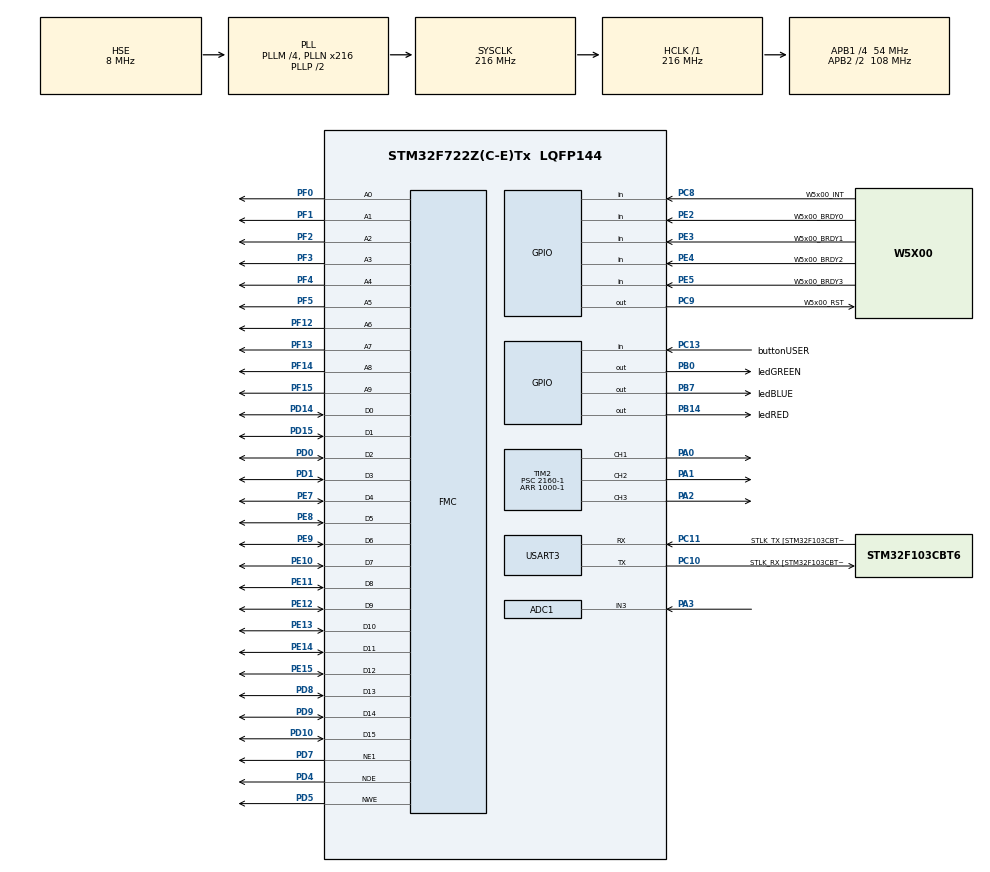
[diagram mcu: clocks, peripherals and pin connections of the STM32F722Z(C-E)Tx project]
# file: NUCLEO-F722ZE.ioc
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ADC1.Channel-0\#ChannelRegularConversion=ADC_CHANNEL_3
ADC1.ContinuousConvMode=ENABLE
ADC1.NbrOfConversionFlag=1
ADC1.Rank-0\#ChannelRegularConversion=1
ADC1.SamplingTime-0\#ChannelRegularConversion=ADC_SAMPLETIME_3CYCLES
ADC1.master=1
FMC.WriteOperation1=FMC_WRITE_OPERATION_ENABLE
Mcu.Family=STM32F7
Mcu.Name=STM32F722Z(C-E)Tx
Mcu.Package=LQFP144
NVIC.PriorityGroup=NVIC_PRIORITYGROUP_4
NVIC.TIM2_IRQn=true\:0\:0\:false\:false\:true\:true\:true\:true
PA0-WKUP.Signal=S_TIM2_CH1_ETR
PA1.Signal=S_TIM2_CH2
PA13.GPIO_Label=TMS
PA13.Mode=Serial_Wire
PA13.Signal=SYS_JTMS-SWDIO
PA14.GPIO_Label=TCK
PA14.Mode=Serial_Wire
PA14.Signal=SYS_JTCK-SWCLK
PA2.Signal=S_TIM2_CH3
PA3.Signal=ADCx_IN3
PB0.GPIO_Label=ledGREEN
PB0.Signal=GPIO_Output
PB14.GPIO_Label=ledRED
PB14.Signal=GPIO_Output
PB7.GPIO_Label=ledBLUE
PB7.Signal=GPIO_Output
PC10.GPIO_Label=STLK_RX [STM32F103CBT6_PA3]
PC10.Mode=Asynchronous
PC10.Signal=USART3_TX
PC11.GPIO_Label=STLK_TX [STM32F103CBT6_PA2]
PC11.Mode=Asynchronous
PC11.Signal=USART3_RX
PC13.GPIO_Label=buttonUSER
PC13.Signal=GPIO_Input
PC14-OSC32_IN.Mode=LSE-External-Oscillator
PC14-OSC32_IN.Signal=RCC_OSC32_IN
PC15-OSC32_OUT.Mode=LSE-External-Oscillator
PC15-OSC32_OUT.Signal=RCC_OSC32_OUT
PC8.GPIO_Label=W5x00_INT
PC8.Signal=GPIO_Input
PC9.GPIO_Label=W5x00_RST
PC9.GPIO_PuPd=GPIO_PULLUP
PC9.PinState=GPIO_PIN_SET
PC9.Signal=GPIO_Output
PD0.Signal=FMC_D2_DA2
PD1.Signal=FMC_D3_DA3
PD10.Signal=FMC_D15_DA15
PD14.Signal=FMC_D0_DA0
PD15.Signal=FMC_D1_DA1
PD4.Signal=FMC_NOE
PD5.Signal=FMC_NWE
PD7.Mode=NorPsramChipSelect1_1
PD7.Signal=FMC_NE1
PD8.Signal=FMC_D13_DA13
PD9.Signal=FMC_D14_DA14
PE10.Signal=FMC_D7_DA7
PE11.Signal=FMC_D8_DA8
PE12.Signal=FMC_D9_DA9
PE13.Signal=FMC_D10_DA10
PE14.Signal=FMC_D11_DA11
PE15.Signal=FMC_D12_DA12
PE2.GPIO_Label=W5x00_BRDY0
PE2.Signal=GPIO_Input
PE3.GPIO_Label=W5x00_BRDY1
PE3.Signal=GPIO_Input
PE4.GPIO_Label=W5x00_BRDY2
PE4.Signal=GPIO_Input
PE5.GPIO_Label=W5x00_BRDY3
PE5.Signal=GPIO_Input
PE7.Signal=FMC_D4_DA4
PE8.Signal=FMC_D5_DA5
PE9.Signal=FMC_D6_DA6
PF0.Signal=FMC_A0
PF1.Signal=FMC_A1
PF12.Signal=FMC_A6
PF13.Signal=FMC_A7
PF14.Signal=FMC_A8
PF15.Signal=FMC_A9
PF2.Signal=FMC_A2
PF3.Signal=FMC_A3
PF4.Signal=FMC_A4
PF5.Signal=FMC_A5
PH0-OSC_IN.GPIO_Label=MCO
PH0-OSC_IN.Mode=HSE-External-Clock-Source
PH0-OSC_IN.Signal=RCC_OSC_IN
PH1-OSC_OUT.Mode=HSE-External-Clock-Source
PH1-OSC_OUT.Signal=RCC_OSC_OUT
ProjectManager.HeapSize=0x10000
ProjectManager.StackSize=0x8000
ProjectManager.TargetToolchain=STM32CubeIDE
RCC.48MHZClocksFreq_Value=24000000
RCC.AHBFreq_Value=216000000
RCC.APB1CLKDivider=RCC_HCLK_DIV4
RCC.APB1Freq_Value=54000000
RCC.APB1TimFreq_Value=108000000
RCC.APB2CLKDivider=RCC_HCLK_DIV2
RCC.APB2Freq_Value=108000000
RCC.APB2TimFreq_Value=216000000
RCC.CortexFreq_Value=216000000
RCC.HCLKFreq_Value=216000000
RCC.HSE_VALUE=8000000
RCC.HSI_VALUE=16000000
RCC.PLLM=4
RCC.PLLMUL=RCC_PLL_MUL9
RCC.PLLN=216
RCC.PLLQ=9
RCC.PLLSourceVirtual=RCC_PLLSOURCE_HSE
RCC.PRESCALERUSB=RCC_USBCLKSOURCE_PLL_DIV1_5
RCC.SYSCLKFreq_VALUE=216000000
RCC.SYSCLKSource=RCC_SYSCLKSOURCE_PLLCLK
RCC.SYSCLKSourceVirtual=RCC_SYSCLKSOURCE_PLLCLK
RCC.USBFreq_Value=48000000
RCC.VCOOutputFreq_Value=432000000
SH.ADCx_IN3.0=ADC1_IN3,IN3
SH.FMC_A0.0=FMC_A0,10b-a1
SH.FMC_A1.0=FMC_A1,10b-a1
SH.FMC_A2.0=FMC_A2,10b-a1
SH.FMC_A3.0=FMC_A3,10b-a1
SH.FMC_A4.0=FMC_A4,10b-a1
SH.FMC_A5.0=FMC_A5,10b-a1
SH.FMC_A6.0=FMC_A6,10b-a1
SH.FMC_A7.0=FMC_A7,10b-a1
SH.FMC_A8.0=FMC_A8,10b-a1
SH.FMC_A9.0=FMC_A9,10b-a1
SH.FMC_D0_DA0.0=FMC_D0,16b-d1
SH.FMC_D10_DA10.0=FMC_D10,16b-d1
SH.FMC_D11_DA11.0=FMC_D11,16b-d1
SH.FMC_D12_DA12.0=FMC_D12,16b-d1
SH.FMC_D13_DA13.0=FMC_D13,16b-d1
SH.FMC_D14_DA14.0=FMC_D14,16b-d1
SH.FMC_D15_DA15.0=FMC_D15,16b-d1
SH.FMC_D1_DA1.0=FMC_D1,16b-d1
SH.FMC_D2_DA2.0=FMC_D2,16b-d1
SH.FMC_D3_DA3.0=FMC_D3,16b-d1
SH.FMC_D4_DA4.0=FMC_D4,16b-d1
SH.FMC_D5_DA5.0=FMC_D5,16b-d1
SH.FMC_D6_DA6.0=FMC_D6,16b-d1
SH.FMC_D7_DA7.0=FMC_D7,16b-d1
SH.FMC_D8_DA8.0=FMC_D8,16b-d1
SH.FMC_D9_DA9.0=FMC_D9,16b-d1
SH.FMC_NOE.0=FMC_NOE,Sram1
SH.FMC_NWE.0=FMC_NWE,Sram1
SH.S_TIM2_CH1_ETR.0=TIM2_CH1,PWM Generation1 CH1
SH.S_TIM2_CH2.0=TIM2_CH2,PWM Generation2 CH2
SH.S_TIM2_CH3.0=TIM2_CH3,PWM Generation3 CH3
TIM2.Channel-PWM\ Generation1\ CH1=TIM_CHANNEL_1
TIM2.Channel-PWM\ Generation2\ CH2=TIM_CHANNEL_2
TIM2.Channel-PWM\ Generation3\ CH3=TIM_CHANNEL_3
TIM2.Period=1000-1
TIM2.Prescaler=2160-1
USART3.VirtualMode-Asynchronous=VM_ASYNC
VP_TIM2_VS_ClockSourceINT.Mode=Internal
board=NUCLEO-F722ZE

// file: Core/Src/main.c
/* USER CODE BEGIN Header */
/**
  ******************************************************************************
  * @file           : main.c
  * @brief          : Main program body
  ******************************************************************************
  * @attention
  *
  * Copyright (c) 2023 STMicroelectronics.
  * All rights reserved.
  *
  * This software is licensed under terms that can be found in the LICENSE file
  * in the root directory of this software component.
  * If no LICENSE file comes with this software, it is provided AS-IS.
  *
  ******************************************************************************
  */
/* USER CODE END Header */
#include "main.h"

/* USER CODE BEGIN Includes */
#include <stdio.h>
#include "wizchip_conf.h"
#include "w5x00_demo.h"
//#include "httpServer.h"
//#include "webpage.h"
//#include "httpClient.h"

/* USER CODE END Includes */

/* USER CODE BEGIN PM */
typedef enum
{
	NotUsed	= 0,
	Input	= 1,
	Output	= 2
} IO_Direction_Type;
// Data IO Status
typedef enum
{
	Off	= 0,
	On 	= 1
} IO_Status_Type;
#ifdef __GNUC__
/* With GCC/RAISONANCE, small printf (option LD Linker->Libraries->Small printf set to 'Yes') calls __io_putchar() */
#define PUTCHAR_PROTOTYPE int __io_putchar(int ch)
#else
#define PUTCHAR_PROTOTYPE int fputc(int ch, FILE *f)
#endif /* __GNUC__ */
/* USER CODE END PM */

ADC_HandleTypeDef hadc1;

TIM_HandleTypeDef htim2;

UART_HandleTypeDef huart3;

SRAM_HandleTypeDef hsram1;

/* USER CODE BEGIN PV */
//FOR SEVER NYOBA
//wiz_NetInfo gWIZNETINFO = { .mac = {0x00,0x08,0xdc,0xff,0xff,0xff},
//							.ip = {192,168,0,13},
//							.sn = {255, 255, 255, 0},
//							.gw = {192, 168, 0, 1},
//							.dns = {168, 126, 63, 1},
//							.lla = {0xfe,0x80, 0x00,0x00,
//								 0x00,0x00, 0x00,0x00,
//								 0x02,0x00, 0xdc,0xff,
//								 0xfe,0x57, 0x57,0x62},
//				            .gua={0x00,0x00,0x00,0x00,
//								 0x00,0x00,0x00,0x00,
//								 0x00,0x00,0x00,0x00,
//								 0x00,0x00,0x00,0x00},
//				            .sn6={0x00,0x00,0x00,0x00,
//								 0x00,0x00,0x00,0x00,
//								 0x00,0x00,0x00, 0x00,
//								 0x00,0x00,0x00,0x00},
//				            .gw6={0x00, 0x00, 0x00,0x00,
//								  0x00,0x00,0x00,0x00,
//								  0x00,0x00, 0x00,0x00,
//								  0x00,0x00, 0x00,0x00}
//							};
//

uint8_t DestIP6_L[16] = {0xfe,0x80, 0x00,0x00,
						  0x00,0x00, 0x00,0x00,
                          0x31,0x71,0x98,0x05,
                          0x70,0x24,0x4b,0xb1
						};

uint8_t DestIP6_G[16] = {0x20,0x01,0x02,0xb8,
                          0x00,0x10,0x00,0x01,
                          0x31,0x71,0x98,0x05,
                          0x70,0x24,0x4b,0xb1
                         };

uint8_t Router_IP[16]= {0xff,0x02,0x00,0x00,
                          0x00,0x00,0x00,0x00,
                          0x00,0x00,0x00,0x00,
                          0x00,0x00,0x00,0x02
                         };
uint8_t data_buf[2048];
void print_network_information(void);
void wep_define_func(void);

////for http client
//// Example domain name
//uint8_t Domain_IP[4]  = {0,};                  // Translated IP address by DNS Server
//uint8_t Domain_name[] = "www.kma.go.kr";
//uint8_t URI[] = "/wid/queryDFSRSS.jsp?zone=4113552000";
////uint8_t Domain_name[] = "www.google.com";
////uint8_t URI[] = "/search?ei=BkGsXL63AZiB-QaJ8KqoAQ&q=W6100&oq=W6100&gs_l=psy-ab.3...0.0..6208...0.0..0.0.0.......0......gws-wiz.eWEWFN8TORw";
//
//uint8_t flag_sent_http_request = DISABLE;
//
//uint8_t g_send_buf[DATA_BUF_SIZE];
//uint8_t g_recv_buf[DATA_BUF_SIZE];
//
//uint8_t data_buf [DATA_BUF_SIZE]; // TX Buffer for applications
uint32_t raw1;
  uint32_t raw2;
/* USER CODE END PV */

void SystemClock_Config(void);
static void MX_GPIO_Init(void);
static void MX_USART3_UART_Init(void);
static void MX_FMC_Init(void);
static void MX_ADC1_Init(void);
static void MX_TIM2_Init(void);
/* USER CODE BEGIN PFP */
/**
 * @brief  Retargets the C library printf function to the USART.
 * @param  None
 * @retval None
 */
PUTCHAR_PROTOTYPE
{
  /* Place your implementation of fputc here */
  /* e.g. write a character to the USART3 and Loop until the end of transmission */
  HAL_UART_Transmit(&huart3, (uint8_t *)&ch, 1, 0xFF);

  return ch;
}

uint8_t rxData[2];
void make_json_dio(uint8_t * buf, uint16_t * len, uint8_t pin);
void make_json_ain(uint8_t * buf, uint16_t * len, uint8_t pin);
void make_json_netinfo(uint8_t * buf, uint16_t * len);

void print_network_information(void)
{
	printf("[DEBUG1]");
//    wizchip_getnetinfo(&gWIZNETINFO);
//    printf("Mac address: %02x:%02x:%02x:%02x:%02x:%02x\n\r",gWIZNETINFO.mac[0],gWIZNETINFO.mac[1],gWIZNETINFO.mac[2],gWIZNETINFO.mac[3],gWIZNETINFO.mac[4],gWIZNETINFO.mac[5]);
//    printf("IP address : %d.%d.%d.%d\n\r",gWIZNETINFO.ip[0],gWIZNETINFO.ip[1],gWIZNETINFO.ip[2],gWIZNETINFO.ip[3]);
//    printf("SM Mask    : %d.%d.%d.%d\n\r",gWIZNETINFO.sn[0],gWIZNETINFO.sn[1],gWIZNETINFO.sn[2],gWIZNETINFO.sn[3]);
//    printf("Gate way   : %d.%d.%d.%d\n\r",gWIZNETINFO.gw[0],gWIZNETINFO.gw[1],gWIZNETINFO.gw[2],gWIZNETINFO.gw[3]);
//    printf("DNS Server : %d.%d.%d.%d\n\r",gWIZNETINFO.dns[0],gWIZNETINFO.dns[1],gWIZNETINFO.dns[2],gWIZNETINFO.dns[3]);
}

void make_json_dio(uint8_t * buf, uint16_t * len, uint8_t pin)
{
	printf("[DEBUG2]");
	//uint8_t pin_state 	= Chip_GPIO_GetPinState(LPC_GPIO, dio_ports[pin], dio_pins[pin]);
	//uint8_t pin_dir 	= Chip_GPIO_GetPinDIR(LPC_GPIO, dio_ports[pin], dio_pins[pin]);

	*len = sprintf((char *)buf, "DioCallback({\"dio_p\":\"%d\",\
											\"dio_s\":\"%d\",\
											\"dio_d\":\"%d\"\
											});",
											1,					// Digital io pin number
											2,				// Digital io status
											3					// Digital io directions
											);
}

void make_json_ain(uint8_t * buf, uint16_t * len, uint8_t pin)
{
	printf("[DEBUG3]");
	*len = sprintf((char *)buf, "AinCallback({\"ain_p\":\"%d\",\
											\"ain_v\":\"%d\"\
											});",
											0,					// ADC input pin number
											raw1//get_ADC_val(pin)		// ADC input value
											);
}

void make_json_netinfo(uint8_t * buf, uint16_t * len)
{
	printf("[DEBUG4]");
	wiz_NetInfo netinfo;
	ctlnetwork(CN_GET_NETINFO, (void*) &netinfo);

	// DHCP: 1 - Static, 2 - DHCP
	*len = sprintf((char *)buf, "NetinfoCallback({\"mac\":\"%.2X:%.2X:%.2X:%.2X:%.2X:%.2X\",\
											\"ip\":\"%d.%d.%d.%d\",\
											\"gw\":\"%d.%d.%d.%d\",\
											\"sn\":\"%d.%d.%d.%d\",\
											\"dns\":\"%d.%d.%d.%d\",\
											\"dhcp\":\"%d\"\
											});",
											netinfo.mac[0], netinfo.mac[1], netinfo.mac[2], netinfo.mac[3], netinfo.mac[4], netinfo.mac[5],
											netinfo.ip[0], netinfo.ip[1], netinfo.ip[2], netinfo.ip[3],
											netinfo.gw[0], netinfo.gw[1], netinfo.gw[2], netinfo.gw[3],
											netinfo.sn[0], netinfo.sn[1], netinfo.sn[2], netinfo.sn[3],
											netinfo.dns[0], netinfo.dns[1], netinfo.dns[2], netinfo.dns[3],
											netinfo.dhcp
											);
}

uint8_t predefined_get_cgi_processor(uint8_t * uri_name, uint8_t * buf, uint16_t * len)
{
	printf("[DEBUG5]");
	uint8_t ret = 1;	// ret = 1 means 'uri_name' matched
	uint8_t cgibuf[14] = {0, };
	int8_t cgi_dio = -1;
	int8_t cgi_ain = -1;

	uint8_t i;

	if(strcmp((const char *)uri_name, "todo.cgi") == 0)
	{
		// to do
		;//make_json_todo(buf, len);
	}
	else if(strcmp((const char *)uri_name, "get_netinfo.cgi") == 0)
	{
		make_json_netinfo(buf, len);
	}
	else
	{
		// get_dio0.cgi ~ get_dio15.cgi
#if 1
		//for(i = 0; i < DIOn; i++)
		for(i = 0; i < 16; i++)
		{
			memset(cgibuf, 0x00, 14);
			sprintf((char *)cgibuf, "get_dio%d.cgi", i);
			if(strcmp((const char *)uri_name, (const char *)cgibuf) == 0)
			{
				make_json_dio(buf, len, i);
				cgi_dio = i;
				break;
			}
		}
#endif
		if(cgi_dio < 0)
		{
			// get_ain0.cgi ~ get_ain5.cgi (A0 - A5), get_ain6.cgi for on-board potentiometer / Temp.Sensor
			for(i = 0; i < 7; i++)
			{
				memset(cgibuf, 0x00, 14);
				sprintf((char *)cgibuf, "get_ain%d.cgi", i);
				if(strcmp((const char *)uri_name, (const char *)cgibuf) == 0)
				{
					make_json_ain(buf, len, i);
					cgi_ain = i;
					break;
				}
			}
		}

		if((cgi_dio < 0) && (cgi_ain < 0)) ret = 0;
	}

	return ret;
}
#if 1
int8_t set_diodir(uint8_t * uri)
{
	uint8_t * param;
	uint8_t pin = 9, val = 0;
	GPIO_InitTypeDef GPIO_InitStruct = {0};

	if((param = get_http_param_value((char *)uri, "pin"))) // GPIO; D0 ~ D15
	{
		pin = (uint8_t)ATOI(param, 10);
		if(pin > 15) return -1;

		if((param = get_http_param_value((char *)uri, "val")))  // Direction; NotUsed/Input/Output
		{
			val = (uint8_t)ATOI(param, 10);
			if(val > Output) val = Output;
		}
	}

	if(val == Input)
	{
		GPIO_InitStruct.Pin = GPIO_PIN_9;
		GPIO_InitStruct.Mode = GPIO_MODE_INPUT;
		GPIO_InitStruct.Pull = GPIO_NOPULL;
		HAL_GPIO_Init(GPIOF, &GPIO_InitStruct);
	//Chip_GPIO_SetPinDIRInput(LPC_GPIO, dio_ports[pin], dio_pins[pin]);	// Input
	}
	else
	{
		GPIO_InitStruct.Pin = GPIO_PIN_9;
		GPIO_InitStruct.Mode = GPIO_MODE_OUTPUT_PP;
		GPIO_InitStruct.Pull = GPIO_NOPULL;
		HAL_GPIO_Init(GPIOF, &GPIO_InitStruct);
	//Chip_GPIO_SetPinDIROutput(LPC_GPIO, dio_ports[pin], dio_pins[pin]); // Output
	}

	return pin;
}

int8_t set_diostate(uint8_t * uri)
{
	printf("[DEBUG6]");
	uint8_t * param;
	uint8_t pin = 0, val = 0;
	GPIO_InitTypeDef GPIO_InitStruct = {0};

	if((param = get_http_param_value((char *)uri, "pin"))) // GPIO; D0 ~ D15
	{
		pin = (uint8_t)ATOI(param, 10);
		if(pin > 15) return -1;

		if((param = get_http_param_value((char *)uri, "val")))  // State; high(on)/low(off)
		{
			printf("[DEBUG6-1]");
			val = (uint8_t)ATOI(param, 10);
			if(val > On) val = On;
		}
		printf("[DEBUG]set_diostatue pin= %d, val = %d\r\n", pin, val);
		if(val == 0)
		{
			if(pin == 11 )	// LED RED PB14
			{
				TIM2->CCR1=75;
				TIM2->CCR2=75;
				TIM2->CCR3=75;
			}
			else if(pin == 8 )	// LED RED PB14
			{
				HAL_GPIO_WritePin(GPIOB, ledRED_Pin, GPIO_PIN_SET);
				TIM2->CCR1=75;
				HAL_Delay(100);
				TIM2->CCR1=65;
			}
			else if(pin == 9) //LED BLUE PB4
			{
				HAL_GPIO_WritePin(GPIOB, ledGREEN_Pin, GPIO_PIN_SET);
				TIM2->CCR2=80;
				TIM2->CCR3=70;

			}
			else if(pin == 10)
			{
				HAL_GPIO_WritePin(GPIOB, ledBLUE_Pin, GPIO_PIN_SET);
				TIM2->CCR2=80;
				TIM2->CCR3=75;

			}

		//Chip_GPIO_SetPinState(LPC_GPIO, dio_ports[pin], dio_pins[pin], true); 	// High
		}
		else
		{
			if(pin == 11 )	// LED RED PB14
			{
				HAL_GPIO_WritePin(GPIOB, ledRED_Pin, GPIO_PIN_SET);
				TIM2->CCR1=75;
				TIM2->CCR2=75;
				TIM2->CCR3=75;
			}
			else if(pin == 8 )	// LED RED PB14
			{
				HAL_GPIO_WritePin(GPIOB, ledRED_Pin, GPIO_PIN_RESET);
//				HAL_GPIO_WritePin(GPIOA, GPIO_PIN_0, GPIO_PIN_RESET);
				TIM2->CCR1=75;
				HAL_Delay(100);
				TIM2->CCR1=85;

			}
			else if(pin == 9) //LED BLUE PB4
			{
				HAL_GPIO_WritePin(GPIOB, ledGREEN_Pin, GPIO_PIN_RESET);
				TIM2->CCR2=70;
				TIM2->CCR3=80;

			}
			else if(pin == 10)
			{
				HAL_GPIO_WritePin(GPIOB, ledBLUE_Pin, GPIO_PIN_RESET);
				TIM2->CCR2=75;
				TIM2->CCR3=70;

			}
		//Chip_GPIO_SetPinState(LPC_GPIO, dio_ports[pin], dio_pins[pin], false);	// Low
		}

	}

	return pin;
}
#endif
uint8_t predefined_set_cgi_processor(uint8_t * uri_name, uint8_t * uri, uint8_t * buf, uint16_t * len)
{
	printf("[DEBUG7]");
	uint8_t ret = 1;	// ret = '1' means 'uri_name' matched
	uint8_t val = 0;

	if(strcmp((const char *)uri_name, "todo.cgi") == 0)
	{
		printf("[DEBUG7-A]");
		// to do
		;//val = todo(uri);
		//*len = sprintf((char *)buf, "%d", val);
	}
	// Digital I/O; dio_s, dio_d
	else if(strcmp((const char *)uri_name, "set_diodir.cgi") == 0)
	{
		printf("[DEBUG7-B]");
		//val = set_diodir(uri);
		val = 0;
		*len = sprintf((char *)buf, "%d", val);
	}
	else if(strcmp((const char *)uri_name, "set_diostate.cgi") == 0)
	{
		printf("[DEBUG7-C]");
		val = set_diostate(uri);
		//val = 0;
		*len = sprintf((char *)buf, "%d", val);
		printf((char *)buf,"%d", val);
	}
	else
	{
		printf("[DEBUG7-D]");
		ret = 0;
	}

	return ret;
}

/* USER CODE END PFP */

int main(void)
{
  /* USER CODE BEGIN 1 */
	uint8_t i;
	uint16_t len = 0;
  wiz_NetInfo net_info =
      {
          .mac = {0x00, 0x08, 0xDC, 0x12, 0x34, 0x56}, // MAC address
          .ip = {192, 168, 0, 122},                     // IP address
          .sn = {255, 255, 255, 0},                    // Subnet Mask
          .gw = {192, 168, 0, 1},                     // Gateway
          .dns = {8, 8, 8, 8},                         // DNS server
#ifdef APP_DHCP
          .dhcp = NETINFO_DHCP                         // Dynamic IP
#else
          .dhcp = NETINFO_STATIC                       // Static IP
#endif
      };
  /* USER CODE END 1 */

  /* MCU Configuration--------------------------------------------------------*/

  /* Reset of all peripherals, Initializes the Flash interface and the Systick. */
  HAL_Init();

  /* Configure the system clock */
  SystemClock_Config();

  /* Initialize all configured peripherals */
  MX_GPIO_Init();
  MX_USART3_UART_Init();
  MX_FMC_Init();
  MX_ADC1_Init();
  MX_TIM2_Init();
  /* USER CODE BEGIN 2 */
  HAL_TIM_PWM_Start(&htim2, TIM_CHANNEL_1);
  HAL_TIM_PWM_Start(&htim2, TIM_CHANNEL_2);
  HAL_TIM_PWM_Start(&htim2, TIM_CHANNEL_3);
// ----------------------------------------------------------------------------------------------------
// Call main function - example funcion
// Select one application
// ----------------------------------------------------------------------------------------------------
#ifdef APP_DHCP
  dhcp_demo(&net_info);
#endif /* APP_DHCP */
#ifdef APP_DNS
  dns_demo(&net_info);
#endif /* APP_DNS */
#ifdef APP_HTTP_SERVER
  http_server_demo(&net_info);
#endif /* APP_HTTP_SERVER */
#ifdef APP_MQTT_PUBLISH
  mqtt_publish_demo(&net_info);
#endif /* APP_MQTT_PUBLISH */
#ifdef APP_MQTT_SUBSCRIBE
  mqtt_subscribe_demo(&net_info);
#endif /* APP_MQTT_SUBSCRIBE */
#ifdef APP_MQTT_PUBLISH_SUBSCRIBE
  mqtt_publish_subscribe_demo(&net_info);
#endif /* APP_MQTT_PUBLISH_SUBSCRIBE */
#ifdef APP_SNTP
  sntp_demo(&net_info);
#endif /* APP_SNTP */
#ifdef APP_TCP_CLIENT_OVER_SSL
  tcp_client_over_ssl_demo(&net_info);
#endif /* APP_TCP_CLIENT_OVER_SSL */
#ifdef APP_LOOPBACK
  loopback_demo(&net_info);
#endif /* APP_LOOPBACK */
// ----------------------------------------------------------------------------------------------------
  /* USER CODE END 2 */

  /* Infinite loop */
  while (1)
  {

    /* USER CODE BEGIN 3 */
	  if(HAL_GPIO_ReadPin(GPIOC,buttonUSER_Pin))
	  {
		  HAL_GPIO_WritePin(GPIOB, ledGREEN_Pin|ledRED_Pin, GPIO_PIN_SET);
//	  HAL_Delay(1000);
	  }
	  else
	  {
		  HAL_GPIO_WritePin(GPIOB, ledGREEN_Pin|ledRED_Pin, GPIO_PIN_RESET);
//		  HAL_Delay(1000);

	  }

//	  httpc_init(0, Domain_IP, 80, g_send_buf, g_recv_buf);
//	  while(1){
//	  httpc_connection_handler();
//	  if(httpc_isSockOpen)
//	  			{
//	  				httpc_connect();
//	  			}
//	  		  // HTTP client example
//	  		  if(httpc_isConnected)
//	  		  {
//	  		    if(!flag_sent_http_request)
//	  			  {
//	  				  // Send: HTTP request
//	  				  request.method = (uint8_t *)HTTP_GET;
//	  				  request.uri = (uint8_t *)URI;
//	  				  request.host = (uint8_t *)Domain_name;
//
//	  				  // HTTP client example #1: Function for send HTTP request (header and body fields are integrated)
//	  				  {
//	  					  httpc_send(&request, g_recv_buf, g_send_buf, 0);
//	  				  }
//
//	  				  // HTTP client example #2: Separate functions for HTTP request - default header + body
//	  				  {
//	  					  //httpc_send_header(&request, g_recv_buf, NULL, len);
//	  					  //httpc_send_body(g_send_buf, len); // Send HTTP requset message body
//	  				  }
//
//	  				  // HTTP client example #3: Separate functions for HTTP request with custom header fields - default header + custom header + body
//	  				  {
//	  					  //httpc_add_customHeader_field(tmpbuf, "Custom-Auth", "auth_method_string"); // custom header field extended - example #1
//	  					  //httpc_add_customHeader_field(tmpbuf, "Key", "auth_key_string"); // custom header field extended - example #2
//	  					  //httpc_send_header(&request, g_recv_buf, tmpbuf, len);
//	  					  //httpc_send_body(g_send_buf, len);
//	  				  }
//
//	  				  flag_sent_http_request = ENABLE;
//	  			  }
//
//	  		    // Recv: HTTP response
//	  		    if(httpc_isReceived > 0)
//	  		    {
//	  				  len = httpc_recv(g_recv_buf, httpc_isReceived);
//
//	  				  printf(" >> HTTP Response - Received len: %d\r\n", len);
//	  				  printf("======================================================\r\n");
//	  				  for(i = 0; i < len; i++) printf("%c", g_recv_buf[i]);
//	  				  printf("\r\n");
//	  				  printf("======================================================\r\n");
//	  			  }
//	  		  }
//	  }
  }
  /* USER CODE END 3 */
}

void SystemClock_Config(void)
{
  RCC_OscInitTypeDef RCC_OscInitStruct = {0};
  RCC_ClkInitTypeDef RCC_ClkInitStruct = {0};

  /** Configure LSE Drive Capability
  */
  HAL_PWR_EnableBkUpAccess();

  /** Configure the main internal regulator output voltage
  */
  __HAL_RCC_PWR_CLK_ENABLE();
  __HAL_PWR_VOLTAGESCALING_CONFIG(PWR_REGULATOR_VOLTAGE_SCALE1);

  /** Initializes the RCC Oscillators according to the specified parameters
  * in the RCC_OscInitTypeDef structure.
  */
  RCC_OscInitStruct.OscillatorType = RCC_OSCILLATORTYPE_HSE;
  RCC_OscInitStruct.HSEState = RCC_HSE_BYPASS;
  RCC_OscInitStruct.PLL.PLLState = RCC_PLL_ON;
  RCC_OscInitStruct.PLL.PLLSource = RCC_PLLSOURCE_HSE;
  RCC_OscInitStruct.PLL.PLLM = 4;
  RCC_OscInitStruct.PLL.PLLN = 216;
  RCC_OscInitStruct.PLL.PLLP = RCC_PLLP_DIV2;
  RCC_OscInitStruct.PLL.PLLQ = 9;
  if (HAL_RCC_OscConfig(&RCC_OscInitStruct) != HAL_OK)
  {
    Error_Handler();
  }

  /** Activate the Over-Drive mode
  */
  if (HAL_PWREx_EnableOverDrive() != HAL_OK)
  {
    Error_Handler();
  }

  /** Initializes the CPU, AHB and APB buses clocks
  */
  RCC_ClkInitStruct.ClockType = RCC_CLOCKTYPE_HCLK|RCC_CLOCKTYPE_SYSCLK
                              |RCC_CLOCKTYPE_PCLK1|RCC_CLOCKTYPE_PCLK2;
  RCC_ClkInitStruct.SYSCLKSource = RCC_SYSCLKSOURCE_PLLCLK;
  RCC_ClkInitStruct.AHBCLKDivider = RCC_SYSCLK_DIV1;
  RCC_ClkInitStruct.APB1CLKDivider = RCC_HCLK_DIV4;
  RCC_ClkInitStruct.APB2CLKDivider = RCC_HCLK_DIV2;

  if (HAL_RCC_ClockConfig(&RCC_ClkInitStruct, FLASH_LATENCY_7) != HAL_OK)
  {
    Error_Handler();
  }
}

static void MX_ADC1_Init(void)
{

  ADC_ChannelConfTypeDef sConfig = {0};

  /** Configure the global features of the ADC (Clock, Resolution, Data Alignment and number of conversion)
  */
  hadc1.Instance = ADC1;
  hadc1.Init.ClockPrescaler = ADC_CLOCK_SYNC_PCLK_DIV4;
  hadc1.Init.Resolution = ADC_RESOLUTION_12B;
  hadc1.Init.ScanConvMode = ADC_SCAN_DISABLE;
  hadc1.Init.ContinuousConvMode = ENABLE;
  hadc1.Init.DiscontinuousConvMode = DISABLE;
  hadc1.Init.ExternalTrigConvEdge = ADC_EXTERNALTRIGCONVEDGE_NONE;
  hadc1.Init.ExternalTrigConv = ADC_SOFTWARE_START;
  hadc1.Init.DataAlign = ADC_DATAALIGN_RIGHT;
  hadc1.Init.NbrOfConversion = 1;
  hadc1.Init.DMAContinuousRequests = DISABLE;
  hadc1.Init.EOCSelection = ADC_EOC_SINGLE_CONV;
  if (HAL_ADC_Init(&hadc1) != HAL_OK)
  {
    Error_Handler();
  }

  /** Configure for the selected ADC regular channel its corresponding rank in the sequencer and its sample time.
  */
  sConfig.Channel = ADC_CHANNEL_3;
  sConfig.Rank = ADC_REGULAR_RANK_1;
  sConfig.SamplingTime = ADC_SAMPLETIME_3CYCLES;
  if (HAL_ADC_ConfigChannel(&hadc1, &sConfig) != HAL_OK)
  {
    Error_Handler();
  }

}

static void MX_TIM2_Init(void)
{

  TIM_ClockConfigTypeDef sClockSourceConfig = {0};
  TIM_MasterConfigTypeDef sMasterConfig = {0};
  TIM_OC_InitTypeDef sConfigOC = {0};

  htim2.Instance = TIM2;
  htim2.Init.Prescaler = 2160-1;
  htim2.Init.CounterMode = TIM_COUNTERMODE_UP;
  htim2.Init.Period = 1000-1;
  htim2.Init.ClockDivision = TIM_CLOCKDIVISION_DIV1;
  htim2.Init.AutoReloadPreload = TIM_AUTORELOAD_PRELOAD_DISABLE;
  if (HAL_TIM_Base_Init(&htim2) != HAL_OK)
  {
    Error_Handler();
  }
  sClockSourceConfig.ClockSource = TIM_CLOCKSOURCE_INTERNAL;
  if (HAL_TIM_ConfigClockSource(&htim2, &sClockSourceConfig) != HAL_OK)
  {
    Error_Handler();
  }
  if (HAL_TIM_PWM_Init(&htim2) != HAL_OK)
  {
    Error_Handler();
  }
  sMasterConfig.MasterOutputTrigger = TIM_TRGO_RESET;
  sMasterConfig.MasterSlaveMode = TIM_MASTERSLAVEMODE_DISABLE;
  if (HAL_TIMEx_MasterConfigSynchronization(&htim2, &sMasterConfig) != HAL_OK)
  {
    Error_Handler();
  }
  sConfigOC.OCMode = TIM_OCMODE_PWM1;
  sConfigOC.Pulse = 0;
  sConfigOC.OCPolarity = TIM_OCPOLARITY_HIGH;
  sConfigOC.OCFastMode = TIM_OCFAST_DISABLE;
  if (HAL_TIM_PWM_ConfigChannel(&htim2, &sConfigOC, TIM_CHANNEL_1) != HAL_OK)
  {
    Error_Handler();
  }
  if (HAL_TIM_PWM_ConfigChannel(&htim2, &sConfigOC, TIM_CHANNEL_2) != HAL_OK)
  {
    Error_Handler();
  }
  if (HAL_TIM_PWM_ConfigChannel(&htim2, &sConfigOC, TIM_CHANNEL_3) != HAL_OK)
  {
    Error_Handler();
  }
  HAL_TIM_MspPostInit(&htim2);

}

static void MX_USART3_UART_Init(void)
{

  huart3.Instance = USART3;
  huart3.Init.BaudRate = 115200;
  huart3.Init.WordLength = UART_WORDLENGTH_8B;
  huart3.Init.StopBits = UART_STOPBITS_1;
  huart3.Init.Parity = UART_PARITY_NONE;
  huart3.Init.Mode = UART_MODE_TX_RX;
  huart3.Init.HwFlowCtl = UART_HWCONTROL_NONE;
  huart3.Init.OverSampling = UART_OVERSAMPLING_16;
  huart3.Init.OneBitSampling = UART_ONE_BIT_SAMPLE_DISABLE;
  huart3.AdvancedInit.AdvFeatureInit = UART_ADVFEATURE_NO_INIT;
  if (HAL_UART_Init(&huart3) != HAL_OK)
  {
    Error_Handler();
  }

}

/* FMC initialization function */
static void MX_FMC_Init(void)
{

  FMC_NORSRAM_TimingTypeDef Timing = {0};

  /** Perform the SRAM1 memory initialization sequence
  */
  hsram1.Instance = FMC_NORSRAM_DEVICE;
  hsram1.Extended = FMC_NORSRAM_EXTENDED_DEVICE;
  /* hsram1.Init */
  hsram1.Init.NSBank = FMC_NORSRAM_BANK1;
  hsram1.Init.DataAddressMux = FMC_DATA_ADDRESS_MUX_DISABLE;
  hsram1.Init.MemoryType = FMC_MEMORY_TYPE_SRAM;
  hsram1.Init.MemoryDataWidth = FMC_NORSRAM_MEM_BUS_WIDTH_16;
  hsram1.Init.BurstAccessMode = FMC_BURST_ACCESS_MODE_DISABLE;
  hsram1.Init.WaitSignalPolarity = FMC_WAIT_SIGNAL_POLARITY_LOW;
  hsram1.Init.WaitSignalActive = FMC_WAIT_TIMING_BEFORE_WS;
  hsram1.Init.WriteOperation = FMC_WRITE_OPERATION_ENABLE;
  hsram1.Init.WaitSignal = FMC_WAIT_SIGNAL_DISABLE;
  hsram1.Init.ExtendedMode = FMC_EXTENDED_MODE_DISABLE;
  hsram1.Init.AsynchronousWait = FMC_ASYNCHRONOUS_WAIT_DISABLE;
  hsram1.Init.WriteBurst = FMC_WRITE_BURST_DISABLE;
  hsram1.Init.ContinuousClock = FMC_CONTINUOUS_CLOCK_SYNC_ONLY;
  hsram1.Init.WriteFifo = FMC_WRITE_FIFO_ENABLE;
  hsram1.Init.PageSize = FMC_PAGE_SIZE_NONE;
  /* Timing */
  Timing.AddressSetupTime = 15;
  Timing.AddressHoldTime = 15;
  Timing.DataSetupTime = 255;
  Timing.BusTurnAroundDuration = 15;
  Timing.CLKDivision = 16;
  Timing.DataLatency = 17;
  Timing.AccessMode = FMC_ACCESS_MODE_A;
  /* ExtTiming */

  if (HAL_SRAM_Init(&hsram1, &Timing, NULL) != HAL_OK)
  {
    Error_Handler( );
  }

  /* USER CODE BEGIN FMC_Init 2 */
  // overwrite
  Timing.AddressSetupTime = 1;
  Timing.AddressHoldTime = 1;
  Timing.DataSetupTime = 7;
  Timing.BusTurnAroundDuration = 0;
  Timing.CLKDivision = 2;
  Timing.DataLatency = 2;
  Timing.AccessMode = FMC_ACCESS_MODE_A;

  if (HAL_SRAM_Init(&hsram1, &Timing, NULL) != HAL_OK)
  {
    Error_Handler();
  }
  /* USER CODE END FMC_Init 2 */
}

static void MX_GPIO_Init(void)
{
  GPIO_InitTypeDef GPIO_InitStruct = {0};

  /* GPIO Ports Clock Enable */
  __HAL_RCC_GPIOE_CLK_ENABLE();
  __HAL_RCC_GPIOC_CLK_ENABLE();
  __HAL_RCC_GPIOF_CLK_ENABLE();
  __HAL_RCC_GPIOH_CLK_ENABLE();
  __HAL_RCC_GPIOA_CLK_ENABLE();
  __HAL_RCC_GPIOB_CLK_ENABLE();
  __HAL_RCC_GPIOD_CLK_ENABLE();

  /*Configure GPIO pin Output Level */
  HAL_GPIO_WritePin(GPIOB, ledGREEN_Pin|ledRED_Pin|ledBLUE_Pin, GPIO_PIN_RESET);

  /*Configure GPIO pin Output Level */
  HAL_GPIO_WritePin(W5x00_RST_GPIO_Port, W5x00_RST_Pin, GPIO_PIN_SET);

  /*Configure GPIO pins : W5x00_BRDY0_Pin W5x00_BRDY1_Pin W5x00_BRDY2_Pin W5x00_BRDY3_Pin */
  GPIO_InitStruct.Pin = W5x00_BRDY0_Pin|W5x00_BRDY1_Pin|W5x00_BRDY2_Pin|W5x00_BRDY3_Pin;
  GPIO_InitStruct.Mode = GPIO_MODE_INPUT;
  GPIO_InitStruct.Pull = GPIO_NOPULL;
  HAL_GPIO_Init(GPIOE, &GPIO_InitStruct);

  /*Configure GPIO pins : buttonUSER_Pin W5x00_INT_Pin */
  GPIO_InitStruct.Pin = buttonUSER_Pin|W5x00_INT_Pin;
  GPIO_InitStruct.Mode = GPIO_MODE_INPUT;
  GPIO_InitStruct.Pull = GPIO_NOPULL;
  HAL_GPIO_Init(GPIOC, &GPIO_InitStruct);

  /*Configure GPIO pins : ledGREEN_Pin ledRED_Pin ledBLUE_Pin */
  GPIO_InitStruct.Pin = ledGREEN_Pin|ledRED_Pin|ledBLUE_Pin;
  GPIO_InitStruct.Mode = GPIO_MODE_OUTPUT_PP;
  GPIO_InitStruct.Pull = GPIO_NOPULL;
  GPIO_InitStruct.Speed = GPIO_SPEED_FREQ_LOW;
  HAL_GPIO_Init(GPIOB, &GPIO_InitStruct);

  /*Configure GPIO pin : W5x00_RST_Pin */
  GPIO_InitStruct.Pin = W5x00_RST_Pin;
  GPIO_InitStruct.Mode = GPIO_MODE_OUTPUT_PP;
  GPIO_InitStruct.Pull = GPIO_PULLUP;
  GPIO_InitStruct.Speed = GPIO_SPEED_FREQ_LOW;
  HAL_GPIO_Init(W5x00_RST_GPIO_Port, &GPIO_InitStruct);

}

/* USER CODE BEGIN 4 */

//

/* USER CODE END 4 */

void Error_Handler(void)
{
  __disable_irq();
  while (1)
  {
  }
}
